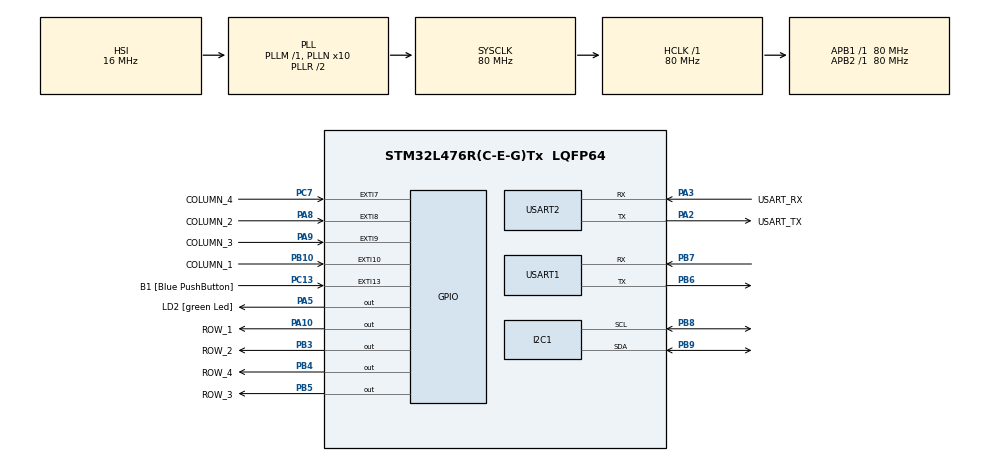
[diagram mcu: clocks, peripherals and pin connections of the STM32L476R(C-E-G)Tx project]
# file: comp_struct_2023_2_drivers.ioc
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I2C1.Timing=0x10909CEC
Mcu.Family=STM32L4
Mcu.Name=STM32L476R(C-E-G)Tx
Mcu.Package=LQFP64
NVIC.EXTI15_10_IRQn=true\:0\:0\:false\:false\:true\:true\:true\:true
NVIC.EXTI9_5_IRQn=true\:0\:0\:false\:false\:true\:true\:true\:true
NVIC.PriorityGroup=NVIC_PRIORITYGROUP_4
NVIC.USART1_IRQn=true\:0\:0\:false\:false\:true\:true\:true\:true
NVIC.USART2_IRQn=true\:0\:0\:false\:false\:true\:true\:true\:true
PA10.GPIO_Label=ROW_1
PA10.Signal=GPIO_Output
PA13\ (JTMS-SWDIO).GPIO_Label=TMS
PA13\ (JTMS-SWDIO).Mode=Serial_Wire
PA13\ (JTMS-SWDIO).Signal=SYS_JTMS-SWDIO
PA14\ (JTCK-SWCLK).GPIO_Label=TCK
PA14\ (JTCK-SWCLK).Mode=Serial_Wire
PA14\ (JTCK-SWCLK).Signal=SYS_JTCK-SWCLK
PA2.GPIO_Label=USART_TX
PA2.GPIO_Mode=GPIO_MODE_AF_PP
PA2.GPIO_PuPd=GPIO_NOPULL
PA2.GPIO_Speed=GPIO_SPEED_FREQ_VERY_HIGH
PA2.Mode=Asynchronous
PA2.Signal=USART2_TX
PA3.GPIO_Label=USART_RX
PA3.GPIO_Mode=GPIO_MODE_AF_PP
PA3.GPIO_PuPd=GPIO_NOPULL
PA3.GPIO_Speed=GPIO_SPEED_FREQ_VERY_HIGH
PA3.Mode=Asynchronous
PA3.Signal=USART2_RX
PA5.GPIO_Label=LD2 [green Led]
PA5.GPIO_ModeDefaultOutputPP=GPIO_MODE_OUTPUT_PP
PA5.GPIO_PuPd=GPIO_NOPULL
PA5.GPIO_Speed=GPIO_SPEED_FREQ_LOW
PA5.Signal=GPIO_Output
PA8.GPIO_Label=COLUMN_2
PA8.GPIO_PuPd=GPIO_PULLDOWN
PA8.Signal=GPXTI8
PA9.GPIO_Label=COLUMN_3
PA9.GPIO_PuPd=GPIO_PULLDOWN
PA9.Signal=GPXTI9
PB10.GPIO_Label=COLUMN_1
PB10.GPIO_PuPd=GPIO_PULLDOWN
PB10.Signal=GPXTI10
PB3\ (JTDO-TRACESWO).GPIO_Label=ROW_2
PB3\ (JTDO-TRACESWO).Signal=GPIO_Output
PB4\ (NJTRST).GPIO_Label=ROW_4
PB4\ (NJTRST).Signal=GPIO_Output
PB5.GPIO_Label=ROW_3
PB5.Signal=GPIO_Output
PB6.Mode=Asynchronous
PB6.Signal=USART1_TX
PB7.Mode=Asynchronous
PB7.Signal=USART1_RX
PB8.Mode=I2C
PB8.Signal=I2C1_SCL
PB9.Mode=I2C
PB9.Signal=I2C1_SDA
PC13.GPIO_Label=B1 [Blue PushButton]
PC13.GPIO_ModeDefaultEXTI=GPIO_MODE_IT_FALLING
PC13.GPIO_PuPd=GPIO_NOPULL
PC13.Signal=GPXTI13
PC14-OSC32_IN\ (PC14).Mode=LSE-External-Oscillator
PC14-OSC32_IN\ (PC14).Signal=RCC_OSC32_IN
PC15-OSC32_OUT\ (PC15).Mode=LSE-External-Oscillator
PC15-OSC32_OUT\ (PC15).Signal=RCC_OSC32_OUT
PC7.GPIO_Label=COLUMN_4
PC7.GPIO_PuPd=GPIO_PULLDOWN
PC7.Signal=GPXTI7
PH0-OSC_IN\ (PH0).Signal=RCC_OSC_IN
PH1-OSC_OUT\ (PH1).Signal=RCC_OSC_OUT
ProjectManager.HeapSize=0x200
ProjectManager.StackSize=0x400
ProjectManager.TargetToolchain=STM32CubeIDE
RCC.ADCFreq_Value=64000000
RCC.AHBFreq_Value=80000000
RCC.APB1Freq_Value=80000000
RCC.APB1TimFreq_Value=80000000
RCC.APB2Freq_Value=80000000
RCC.APB2TimFreq_Value=80000000
RCC.CortexFreq_Value=80000000
RCC.HCLKFreq_Value=80000000
RCC.HSE_VALUE=8000000
RCC.HSI_VALUE=16000000
RCC.MSI_VALUE=4000000
RCC.PLLN=10
RCC.PLLSourceVirtual=RCC_PLLSOURCE_HSI
RCC.PREFETCH_ENABLE=1
RCC.SYSCLKFreq_VALUE=80000000
RCC.SYSCLKSource=RCC_SYSCLKSOURCE_PLLCLK
RCC.USBFreq_Value=64000000
RCC.VCOOutputFreq_Value=160000000
USART1.VirtualMode-Asynchronous=VM_ASYNC
USART2.VirtualMode-Asynchronous=VM_ASYNC
board=NUCLEO-L476RG

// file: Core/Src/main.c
/* USER CODE BEGIN Header */
/**
  ******************************************************************************
  * @file           : main.c
  * @brief          : Main program body
  ******************************************************************************
  * @attention
  *
  * Copyright (c) 2023 STMicroelectronics.
  * All rights reserved.
  *
  * This software is licensed under terms that can be found in the LICENSE file
  * in the root directory of this software component.
  * If no LICENSE file comes with this software, it is provided AS-IS.
  *
  ******************************************************************************
  */
/* USER CODE END Header */
#include "main.h"

/* USER CODE BEGIN Includes */
#include <stdio.h>
#include <string.h>

#include "ring_buffer.h"

#include "ssd1306.h"
#include "ssd1306_fonts.h"

#include "keypad.h"

/* USER CODE END Includes */

I2C_HandleTypeDef hi2c1;

/* USER CODE BEGIN PV */
ring_buffer_t ring_buffer_rx_usart1; 	// control vars for the ring buffer
uint8_t rx_buffer_usart1[16]; 			// memory for ring buffer

ring_buffer_t ring_buffer_tx_usart1; 	// control vars for the ring buffer
uint8_t tx_buffer_usart1[16]; 			// memory for ring buffer

volatile uint16_t key_event = 0xFF; // this var shall be volatile so the compiler does not remove it
ring_buffer_t ring_buffer_keypad; 	// control vars for the ring buffer
uint8_t keypad_buffer[5];  			// memory for ring buffer
/* USER CODE END PV */

void SystemClock_Config(void);
static void MX_GPIO_Init(void);
static void MX_USART2_UART_Init(void);
static void MX_I2C1_Init(void);
static void MX_USART1_UART_Init(void);

/* USER CODE BEGIN 0 */

int _write(int file, char *ptr, int len)
{
//  for (uint8_t idx = 0; idx < len; idx++) {
//	  // send byte by byte in blocking mode
//	  while (LL_USART_IsActiveFlag_TXE(USART2) == 0) {
//		  // wait until Tx Empty flag becomes true
//	  }
//	  LL_USART_TransmitData8(USART2, ptr[idx]);
//  }
  return len;
}

/**
  * @brief  Rx Transfer completed callback.
  * @param  huart UART handle.
  * @retval None
  */
void Custom_USART1_RxCallback(uint8_t rx_data)
{
	LL_USART_TransmitData8(USART2, rx_data);
	//ring_buffer_put(&ring_buffer_rx_usart1, rx_data);
}

uint8_t Custom_USART1_TxCallback(uint8_t *tx_data)
{
	return 0; // Tx not implemented by IT for usart1
}

/**
  * @brief  Rx Transfer completed callback.
  * @param  huart UART handle.
  * @retval None
  */
void Custom_USART2_RxCallback(uint8_t rx_data)
{
	LL_USART_TransmitData8(USART1, rx_data);
}

uint8_t Custom_USART2_TxCallback(uint8_t *tx_data)
{
	return 0; // Tx not implemented by IT in usart2
}

/**
  * @brief  EXTI line detection callback.
  * @param  GPIO_Pin Specifies the port pin connected
  *         to corresponding EXTI line.
  * @retval None
  */
void HAL_GPIO_EXTI_Callback(uint16_t GPIO_Pin)
{
	key_event = GPIO_Pin;
}

void validate_sequence(void)
{
	printf("Validating\r\n");
	uint8_t birth_date[5] = "1992#";
	uint8_t sequence[5];
	for (uint8_t idx = 0; idx < 5; idx++) {
	  ring_buffer_get(&ring_buffer_keypad, &sequence[idx]);
	}
	char *result_log;
	if (memcmp(birth_date, sequence, 5) == 0) {
	  result_log = "Pass";
	} else {
	  result_log = "Fail";
	}
	printf("Sequence result: %s\r\n", result_log);

	ssd1306_SetCursor(20, 20);
	ssd1306_WriteString(result_log, Font_16x26, White);
	ssd1306_UpdateScreen();
}
/* USER CODE END 0 */

int main(void)
{

  /* MCU Configuration--------------------------------------------------------*/

  /* Reset of all peripherals, Initializes the Flash interface and the Systick. */
  HAL_Init();

  /* Configure the system clock */
  SystemClock_Config();

  /* Initialize all configured peripherals */
  MX_GPIO_Init();
  MX_USART2_UART_Init();
  MX_I2C1_Init();
  MX_USART1_UART_Init();
  /* USER CODE BEGIN 2 */
  ring_buffer_init(&ring_buffer_rx_usart1, rx_buffer_usart1, 16);
  ring_buffer_init(&ring_buffer_tx_usart1, tx_buffer_usart1, 16);
  ring_buffer_init(&ring_buffer_keypad, keypad_buffer, 5);

  LL_USART_EnableIT_RXNE(USART1);
  LL_USART_EnableIT_RXNE(USART2);

  ssd1306_Init();
  ssd1306_Fill(Black);
  ssd1306_SetCursor(20, 20);
  ssd1306_WriteString("Wait", Font_16x26, White);
  ssd1306_UpdateScreen();

  keypad_init(); // Initialize the keypad functionality

  /* USER CODE END 2 */

  /* Infinite loop */
  /* USER CODE BEGIN WHILE */
  printf("Waiting sequence...\r\n");
  while (1)
  {
	  if (key_event != 0xFF) { // check if there is a event from the EXTi callback
		  uint8_t key_pressed = keypad_handler(key_event); // call the keypad handler
		  if (key_pressed != 0xFF) {
			  printf("Key pressed: %c\r\n", key_pressed); // print the key pressed
			  ring_buffer_put(&ring_buffer_keypad, key_pressed);
		  }

		  if (key_pressed == '*') {
			  ring_buffer_reset(&ring_buffer_keypad);
		  } else if (ring_buffer_is_full(&ring_buffer_keypad) != 0) {
			  validate_sequence();
		  }
		  key_event = 0xFF; // clean the event
	  }
    /* USER CODE END WHILE */

  }
}

void SystemClock_Config(void)
{
  RCC_OscInitTypeDef RCC_OscInitStruct = {0};
  RCC_ClkInitTypeDef RCC_ClkInitStruct = {0};

  /** Configure the main internal regulator output voltage
  */
  if (HAL_PWREx_ControlVoltageScaling(PWR_REGULATOR_VOLTAGE_SCALE1) != HAL_OK)
  {
    Error_Handler();
  }

  /** Initializes the RCC Oscillators according to the specified parameters
  * in the RCC_OscInitTypeDef structure.
  */
  RCC_OscInitStruct.OscillatorType = RCC_OSCILLATORTYPE_HSI;
  RCC_OscInitStruct.HSIState = RCC_HSI_ON;
  RCC_OscInitStruct.HSICalibrationValue = RCC_HSICALIBRATION_DEFAULT;
  RCC_OscInitStruct.PLL.PLLState = RCC_PLL_ON;
  RCC_OscInitStruct.PLL.PLLSource = RCC_PLLSOURCE_HSI;
  RCC_OscInitStruct.PLL.PLLM = 1;
  RCC_OscInitStruct.PLL.PLLN = 10;
  RCC_OscInitStruct.PLL.PLLP = RCC_PLLP_DIV7;
  RCC_OscInitStruct.PLL.PLLQ = RCC_PLLQ_DIV2;
  RCC_OscInitStruct.PLL.PLLR = RCC_PLLR_DIV2;
  if (HAL_RCC_OscConfig(&RCC_OscInitStruct) != HAL_OK)
  {
    Error_Handler();
  }

  /** Initializes the CPU, AHB and APB buses clocks
  */
  RCC_ClkInitStruct.ClockType = RCC_CLOCKTYPE_HCLK|RCC_CLOCKTYPE_SYSCLK
                              |RCC_CLOCKTYPE_PCLK1|RCC_CLOCKTYPE_PCLK2;
  RCC_ClkInitStruct.SYSCLKSource = RCC_SYSCLKSOURCE_PLLCLK;
  RCC_ClkInitStruct.AHBCLKDivider = RCC_SYSCLK_DIV1;
  RCC_ClkInitStruct.APB1CLKDivider = RCC_HCLK_DIV1;
  RCC_ClkInitStruct.APB2CLKDivider = RCC_HCLK_DIV1;

  if (HAL_RCC_ClockConfig(&RCC_ClkInitStruct, FLASH_LATENCY_4) != HAL_OK)
  {
    Error_Handler();
  }
}

static void MX_I2C1_Init(void)
{

  hi2c1.Instance = I2C1;
  hi2c1.Init.Timing = 0x10909CEC;
  hi2c1.Init.OwnAddress1 = 0;
  hi2c1.Init.AddressingMode = I2C_ADDRESSINGMODE_7BIT;
  hi2c1.Init.DualAddressMode = I2C_DUALADDRESS_DISABLE;
  hi2c1.Init.OwnAddress2 = 0;
  hi2c1.Init.OwnAddress2Masks = I2C_OA2_NOMASK;
  hi2c1.Init.GeneralCallMode = I2C_GENERALCALL_DISABLE;
  hi2c1.Init.NoStretchMode = I2C_NOSTRETCH_DISABLE;
  if (HAL_I2C_Init(&hi2c1) != HAL_OK)
  {
    Error_Handler();
  }

  /** Configure Analogue filter
  */
  if (HAL_I2CEx_ConfigAnalogFilter(&hi2c1, I2C_ANALOGFILTER_ENABLE) != HAL_OK)
  {
    Error_Handler();
  }

  /** Configure Digital filter
  */
  if (HAL_I2CEx_ConfigDigitalFilter(&hi2c1, 0) != HAL_OK)
  {
    Error_Handler();
  }

}

static void MX_USART1_UART_Init(void)
{

  LL_USART_InitTypeDef USART_InitStruct = {0};

  LL_GPIO_InitTypeDef GPIO_InitStruct = {0};
  RCC_PeriphCLKInitTypeDef PeriphClkInit = {0};

  /** Initializes the peripherals clock
  */
  PeriphClkInit.PeriphClockSelection = RCC_PERIPHCLK_USART1;
  PeriphClkInit.Usart1ClockSelection = RCC_USART1CLKSOURCE_PCLK2;
  if (HAL_RCCEx_PeriphCLKConfig(&PeriphClkInit) != HAL_OK)
  {
    Error_Handler();
  }

  /* Peripheral clock enable */
  LL_APB2_GRP1_EnableClock(LL_APB2_GRP1_PERIPH_USART1);

  LL_AHB2_GRP1_EnableClock(LL_AHB2_GRP1_PERIPH_GPIOB);
  /**USART1 GPIO Configuration
  PB6   ------> USART1_TX
  PB7   ------> USART1_RX
  */
  GPIO_InitStruct.Pin = LL_GPIO_PIN_6|LL_GPIO_PIN_7;
  GPIO_InitStruct.Mode = LL_GPIO_MODE_ALTERNATE;
  GPIO_InitStruct.Speed = LL_GPIO_SPEED_FREQ_VERY_HIGH;
  GPIO_InitStruct.OutputType = LL_GPIO_OUTPUT_PUSHPULL;
  GPIO_InitStruct.Pull = LL_GPIO_PULL_NO;
  GPIO_InitStruct.Alternate = LL_GPIO_AF_7;
  LL_GPIO_Init(GPIOB, &GPIO_InitStruct);

  /* USART1 interrupt Init */
  NVIC_SetPriority(USART1_IRQn, NVIC_EncodePriority(NVIC_GetPriorityGrouping(),0, 0));
  NVIC_EnableIRQ(USART1_IRQn);

  USART_InitStruct.BaudRate = 115200;
  USART_InitStruct.DataWidth = LL_USART_DATAWIDTH_8B;
  USART_InitStruct.StopBits = LL_USART_STOPBITS_1;
  USART_InitStruct.Parity = LL_USART_PARITY_NONE;
  USART_InitStruct.TransferDirection = LL_USART_DIRECTION_TX_RX;
  USART_InitStruct.HardwareFlowControl = LL_USART_HWCONTROL_NONE;
  USART_InitStruct.OverSampling = LL_USART_OVERSAMPLING_16;
  LL_USART_Init(USART1, &USART_InitStruct);
  LL_USART_ConfigAsyncMode(USART1);
  LL_USART_Enable(USART1);

}

static void MX_USART2_UART_Init(void)
{

  LL_USART_InitTypeDef USART_InitStruct = {0};

  LL_GPIO_InitTypeDef GPIO_InitStruct = {0};
  RCC_PeriphCLKInitTypeDef PeriphClkInit = {0};

  /** Initializes the peripherals clock
  */
  PeriphClkInit.PeriphClockSelection = RCC_PERIPHCLK_USART2;
  PeriphClkInit.Usart2ClockSelection = RCC_USART2CLKSOURCE_PCLK1;
  if (HAL_RCCEx_PeriphCLKConfig(&PeriphClkInit) != HAL_OK)
  {
    Error_Handler();
  }

  /* Peripheral clock enable */
  LL_APB1_GRP1_EnableClock(LL_APB1_GRP1_PERIPH_USART2);

  LL_AHB2_GRP1_EnableClock(LL_AHB2_GRP1_PERIPH_GPIOA);
  /**USART2 GPIO Configuration
  PA2   ------> USART2_TX
  PA3   ------> USART2_RX
  */
  GPIO_InitStruct.Pin = LL_GPIO_PIN_2|LL_GPIO_PIN_3;
  GPIO_InitStruct.Mode = LL_GPIO_MODE_ALTERNATE;
  GPIO_InitStruct.Speed = LL_GPIO_SPEED_FREQ_VERY_HIGH;
  GPIO_InitStruct.OutputType = LL_GPIO_OUTPUT_PUSHPULL;
  GPIO_InitStruct.Pull = LL_GPIO_PULL_NO;
  GPIO_InitStruct.Alternate = LL_GPIO_AF_7;
  LL_GPIO_Init(GPIOA, &GPIO_InitStruct);

  /* USART2 interrupt Init */
  NVIC_SetPriority(USART2_IRQn, NVIC_EncodePriority(NVIC_GetPriorityGrouping(),0, 0));
  NVIC_EnableIRQ(USART2_IRQn);

  USART_InitStruct.BaudRate = 115200;
  USART_InitStruct.DataWidth = LL_USART_DATAWIDTH_8B;
  USART_InitStruct.StopBits = LL_USART_STOPBITS_1;
  USART_InitStruct.Parity = LL_USART_PARITY_NONE;
  USART_InitStruct.TransferDirection = LL_USART_DIRECTION_TX_RX;
  USART_InitStruct.HardwareFlowControl = LL_USART_HWCONTROL_NONE;
  USART_InitStruct.OverSampling = LL_USART_OVERSAMPLING_16;
  LL_USART_Init(USART2, &USART_InitStruct);
  LL_USART_ConfigAsyncMode(USART2);
  LL_USART_Enable(USART2);

}

static void MX_GPIO_Init(void)
{
  GPIO_InitTypeDef GPIO_InitStruct = {0};

  /* GPIO Ports Clock Enable */
  __HAL_RCC_GPIOC_CLK_ENABLE();
  __HAL_RCC_GPIOH_CLK_ENABLE();
  __HAL_RCC_GPIOA_CLK_ENABLE();
  __HAL_RCC_GPIOB_CLK_ENABLE();

  /*Configure GPIO pin Output Level */
  HAL_GPIO_WritePin(GPIOA, LD2_Pin|ROW_1_Pin, GPIO_PIN_RESET);

  /*Configure GPIO pin Output Level */
  HAL_GPIO_WritePin(GPIOB, ROW_2_Pin|ROW_4_Pin|ROW_3_Pin, GPIO_PIN_RESET);

  /*Configure GPIO pin : B1_Pin */
  GPIO_InitStruct.Pin = B1_Pin;
  GPIO_InitStruct.Mode = GPIO_MODE_IT_FALLING;
  GPIO_InitStruct.Pull = GPIO_NOPULL;
  HAL_GPIO_Init(B1_GPIO_Port, &GPIO_InitStruct);

  /*Configure GPIO pins : LD2_Pin ROW_1_Pin */
  GPIO_InitStruct.Pin = LD2_Pin|ROW_1_Pin;
  GPIO_InitStruct.Mode = GPIO_MODE_OUTPUT_PP;
  GPIO_InitStruct.Pull = GPIO_NOPULL;
  GPIO_InitStruct.Speed = GPIO_SPEED_FREQ_LOW;
  HAL_GPIO_Init(GPIOA, &GPIO_InitStruct);

  /*Configure GPIO pin : COLUMN_1_Pin */
  GPIO_InitStruct.Pin = COLUMN_1_Pin;
  GPIO_InitStruct.Mode = GPIO_MODE_IT_RISING;
  GPIO_InitStruct.Pull = GPIO_PULLDOWN;
  HAL_GPIO_Init(COLUMN_1_GPIO_Port, &GPIO_InitStruct);

  /*Configure GPIO pin : COLUMN_4_Pin */
  GPIO_InitStruct.Pin = COLUMN_4_Pin;
  GPIO_InitStruct.Mode = GPIO_MODE_IT_RISING;
  GPIO_InitStruct.Pull = GPIO_PULLDOWN;
  HAL_GPIO_Init(COLUMN_4_GPIO_Port, &GPIO_InitStruct);

  /*Configure GPIO pins : COLUMN_2_Pin COLUMN_3_Pin */
  GPIO_InitStruct.Pin = COLUMN_2_Pin|COLUMN_3_Pin;
  GPIO_InitStruct.Mode = GPIO_MODE_IT_RISING;
  GPIO_InitStruct.Pull = GPIO_PULLDOWN;
  HAL_GPIO_Init(GPIOA, &GPIO_InitStruct);

  /*Configure GPIO pins : ROW_2_Pin ROW_4_Pin ROW_3_Pin */
  GPIO_InitStruct.Pin = ROW_2_Pin|ROW_4_Pin|ROW_3_Pin;
  GPIO_InitStruct.Mode = GPIO_MODE_OUTPUT_PP;
  GPIO_InitStruct.Pull = GPIO_NOPULL;
  GPIO_InitStruct.Speed = GPIO_SPEED_FREQ_LOW;
  HAL_GPIO_Init(GPIOB, &GPIO_InitStruct);

  /* EXTI interrupt init*/
  HAL_NVIC_SetPriority(EXTI9_5_IRQn, 0, 0);
  HAL_NVIC_EnableIRQ(EXTI9_5_IRQn);

  HAL_NVIC_SetPriority(EXTI15_10_IRQn, 0, 0);
  HAL_NVIC_EnableIRQ(EXTI15_10_IRQn);

}

void Error_Handler(void)
{
  __disable_irq();
  while (1)
  {
  }
}
